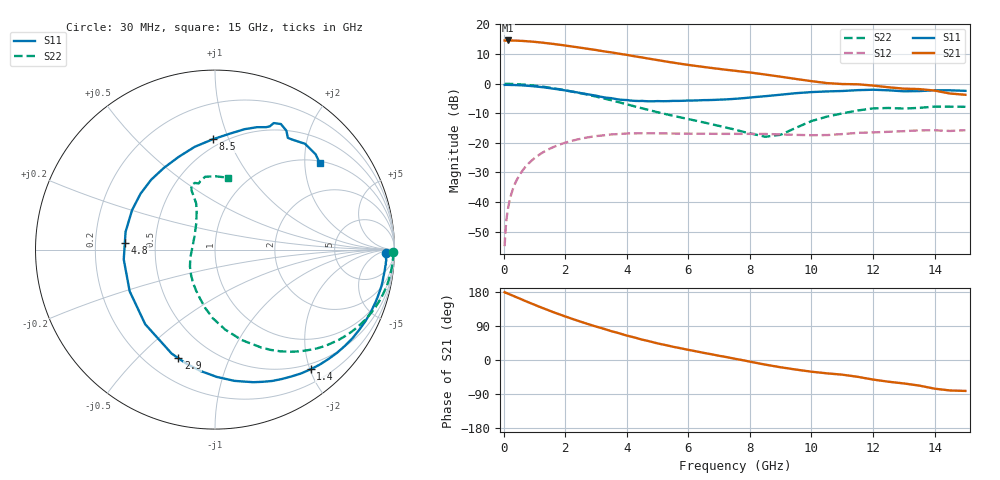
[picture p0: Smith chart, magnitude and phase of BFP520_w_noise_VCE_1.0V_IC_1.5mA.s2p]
! Infineon Technologies  Discrete & RF Semiconductors
! BFP520
! VCE =  1.0 V,  IC =  1.5 mA
! Common Emitter S-Parameters:  Oct 2015
# GHz  S  MA  R  50
!  f  S11  S21  S12  S22
! GHz  MAG  ANG  MAG  ANG  MAG  ANG  MAG  ANG
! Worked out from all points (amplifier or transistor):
!   109 points, 30 MHz to 15 GHz, reference 50 ohm
!   highest |S21| = 14.6 dB at 140 MHz (marker M1)
!   |S21| within 3 dB of that: start of sweep to 2.851 GHz
!   unconditionally stable (mu >= 1): 5.214 GHz to end of sweep
!   at 450 MHz: K = 0.03, MSG = 23.3 dB, |S12| = -32.0 dB
!   at 4 GHz: K = 0.71, MSG = 13.3 dB, |S12| = -16.8 dB
!   at 15 GHz: K = 1.81, MAG = 0.8 dB, |S12| = -15.7 dB
!   lowest NFmin = 0.90 dB at 900 MHz
!   S11 on the Smith chart (normalised r, x): 30 MHz: 36, -15; 1.4 GHz: 0.41, -2.01; 2.9 GHz: 0.33, -0.67; 4.8 GHz: 0.33, +0.03; 8.5 GHz: 0.44, +0.88; 15 GHz: 1.06, +2.38
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0.03  0.9534 -1.1  5.362 178.9  0.0018 92.9  0.9928 -0.8
0.09  0.9553 -3.3  5.358 176.9  0.0051 87.9  0.9932 -2.2
0.14  0.956 -5.0  5.368 175.2  0.0077 87.1  0.9925 -3.5
0.35  0.9489 -12.7  5.346 168.0  0.0195 83.1  0.985 -8.7
0.7  0.9279 -25.5  5.237 155.8  0.039 75.5  0.9595 -17.4
1.1  0.8903 -40.3  5.025 142.5  0.0603 66.5  0.9131 -26.9
1.4  0.8534 -51.4  4.829 133.0  0.0752 59.8  0.8698 -33.7
1.7  0.8115 -62.7  4.622 123.7  0.0886 53.4  0.8229 -40.1
2  0.7689 -73.9  4.409 114.9  0.1006 47.1  0.7735 -46.1
2.6  0.6809 -96.9  3.974 98.5  0.1202 35.5  0.6726 -57.4
2.9  0.6388 -108.6  3.766 90.8  0.1277 30.0  0.6216 -62.7
3.5  0.5692 -133.1  3.376 76.0  0.139 19.7  0.5239 -73.7
4  0.5291 -154.0  3.064 64.5  0.144 11.9  0.4481 -82.9
4.8  0.5037 175.7  2.601 48.0  0.145 1.7  0.3497 -96.2
5.1  0.5062 165.9  2.453 42.1  0.1446 -1.5  0.3202 -100.9
6.3  0.5217 136.7  1.975 22.1  0.1427 -11.1  0.2333 -119.7
7.6  0.5587 109.5  1.631 2.0  0.1419 -19.3  0.163 -148.6
8.5  0.6147 91.2  1.426 -12.2  0.1413 -25.0  0.127 175.3
9.5  0.6909 76.2  1.2 -25.3  0.1364 -30.1  0.1802 125.4
10.5  0.7394 67.3  1.023 -35.2  0.1354 -31.3  0.2774 112.2
13  0.7431 56.9  0.823 -61.9  0.1577 -43.2  0.3798 103.8
15  0.7566 39.4  0.649 -81.6  0.1637 -55.3  0.4066 79.8
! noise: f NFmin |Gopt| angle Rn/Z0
0.45  0.92  0.73  5  0.48
0.9  0.9  0.68  14  0.49
1.9  1.25  0.56  30  0.4
2.4  1.37  0.51  42  0.39
3.5  1.35  0.5  67  0.34
